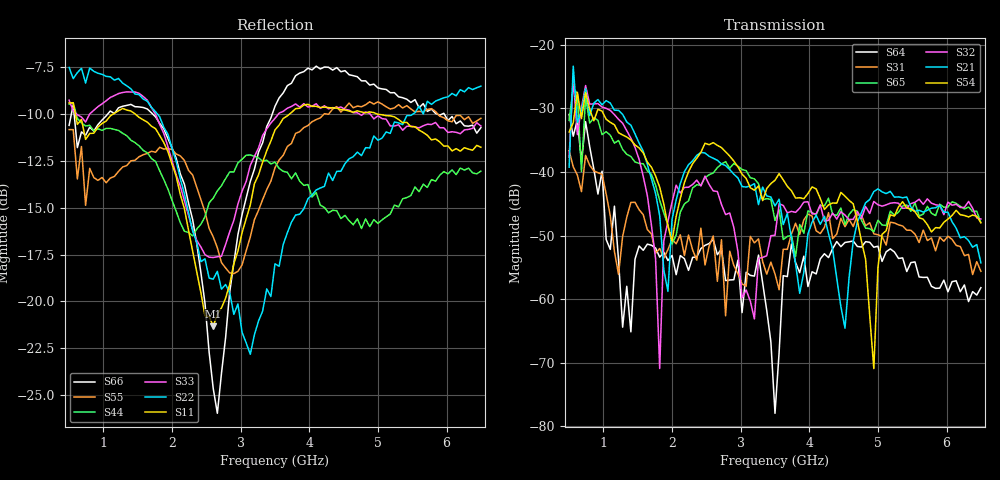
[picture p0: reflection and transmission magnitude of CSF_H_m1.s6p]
!Keysight Technologies,M9804A,MY58100912,A.14.10.03
!Date: Thursday, April 27, 2023 10:28:33
!Correction: S11(C  6-Port  )
!S12(C  6-Port  )
!S13(C  6-Port  )
!S14(C  6-Port  )
!S15(C  6-Port  )
!S16(C  6-Port  )
!S21(C  6-Port  )
!S22(C  6-Port  )
!S23(C  6-Port  )
!S24(C  6-Port  )
!S25(C  6-Port  )
!S26(C  6-Port  )
!S31(C  6-Port  )
!S32(C  6-Port  )
!S33(C  6-Port  )
!S34(C  6-Port  )
!S35(C  6-Port  )
!S36(C  6-Port  )
!S41(C  6-Port  )
!S42(C  6-Port  )
!S43(C  6-Port  )
!S44(C  6-Port  )
!S45(C  6-Port  )
!S46(C  6-Port  )
!S51(C  6-Port  )
!S52(C  6-Port  )
!S53(C  6-Port  )
!S54(C  6-Port  )
!S55(C  6-Port  )
!S56(C  6-Port  )
!S61(C  6-Port  )
!S62(C  6-Port  )
!S63(C  6-Port  )
!S64(C  6-Port  )
!S65(C  6-Port  )
!S66(C  6-Port  )
!S6P File: Measurement: :
# Hz S  RI  R 50
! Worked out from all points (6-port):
!   101 points, 500 MHz to 6.5 GHz, reference 50 ohm
!   strongest paths, dB at 500 MHz, 2 GHz, 3.5 GHz, 5 GHz, 6.5 GHz:
!     S54: -33.7, -50.9, -41.3, -55.0, -48.0
!     S21: -39.3, -47.4, -45.3, -42.7, -54.3
!     S32: -37.6, -44.7, -49.9, -45.1, -47.4
!     S65: -31.9, -51.3, -47.6, -47.6, -48.0
!     S31: -36.7, -50.6, -56.0, -49.9, -55.6
!     S64: -31.0, -53.1, -77.9, -51.7, -58.2
!   lowest |S11| = -21.3 dB at 2.6 GHz (marker M1), VSWR 1.19, Z = 42.4 + j2.3 ohm
!   |S11| at or under -10 dB: 591.4 MHz to 1.139 GHz (547.9 MHz wide, 63.3 % of centre); 1.465 GHz to 3.711 GHz (2.246 GHz wide, 86.8 % of centre); 4.992 GHz to end of sweep
